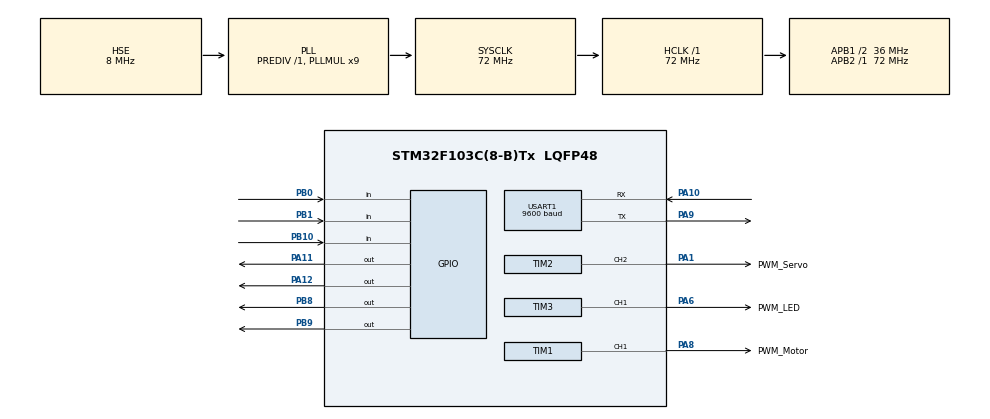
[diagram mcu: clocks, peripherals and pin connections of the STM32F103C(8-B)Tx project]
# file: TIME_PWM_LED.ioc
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FREERTOS.Queues01=motorQueue,16,uint16_t,0,Dynamic,NULL,NULL;servoQueue,16,uint16_t,0,Dynamic,NULL,NULL;ledQueue,16,uint16_t,0,Dynamic,NULL,NULL
FREERTOS.Tasks01=defaultTask,24,128,StartDefaultTask,Default,NULL,Dynamic,NULL,NULL;MotorTask,35,128,StartMotorTask,Default,NULL,Dynamic,NULL,NULL;ServoTask,18,128,StartServoTask,Default,NULL,Dynamic,NULL,NULL;LEDTask,17,128,StartLEDTask,Default,NULL,Dynamic,NULL,NULL;Key_TASK,40,128,StartKeyTask,Default,NULL,Dynamic,NULL,NULL;OLEDtask,8,128,StartOLEDTask,Default,NULL,Dynamic,NULL,NULL
FREERTOS.configMAX_CO_ROUTINE_PRIORITIES=7
FREERTOS.configTOTAL_HEAP_SIZE=10240
Mcu.Family=STM32F1
Mcu.Name=STM32F103C(8-B)Tx
Mcu.Package=LQFP48
NVIC.PriorityGroup=NVIC_PRIORITYGROUP_4
NVIC.TIM4_IRQn=true\:1\:0\:true\:false\:true\:false\:false\:true\:true
NVIC.TimeBase=TIM4_IRQn
NVIC.TimeBaseIP=TIM4
NVIC.USART1_IRQn=true\:5\:0\:false\:false\:true\:true\:true\:true\:true
PA1.GPIO_Label=PWM_Servo
PA1.Signal=S_TIM2_CH2
PA10.Mode=Asynchronous
PA10.Signal=USART1_RX
PA11.Signal=GPIO_Output
PA12.Signal=GPIO_Output
PA13.Mode=Serial_Wire
PA13.Signal=SYS_JTMS-SWDIO
PA14.Mode=Serial_Wire
PA14.Signal=SYS_JTCK-SWCLK
PA6.GPIO_Label=PWM_LED
PA6.Signal=S_TIM3_CH1
PA8.GPIO_Label=PWM_Motor
PA8.Signal=S_TIM1_CH1
PA9.Mode=Asynchronous
PA9.Signal=USART1_TX
PB0.GPIO_PuPd=GPIO_PULLUP
PB0.Signal=GPIO_Input
PB1.GPIO_PuPd=GPIO_PULLUP
PB1.Signal=GPIO_Input
PB10.GPIO_PuPd=GPIO_PULLUP
PB10.Signal=GPIO_Input
PB8.GPIO_ModeDefaultOutputPP=GPIO_MODE_OUTPUT_OD
PB8.GPIO_PuPd=GPIO_NOPULL
PB8.Signal=GPIO_Output
PB9.GPIO_ModeDefaultOutputPP=GPIO_MODE_OUTPUT_OD
PB9.GPIO_PuPd=GPIO_NOPULL
PB9.Signal=GPIO_Output
PD0-OSC_IN.Mode=HSE-External-Oscillator
PD0-OSC_IN.Signal=RCC_OSC_IN
PD1-OSC_OUT.Mode=HSE-External-Oscillator
PD1-OSC_OUT.Signal=RCC_OSC_OUT
ProjectManager.HeapSize=0x200
ProjectManager.StackSize=0x400
ProjectManager.TargetToolchain=MDK-ARM V5.32
RCC.AHBFreq_Value=72000000
RCC.APB1CLKDivider=RCC_HCLK_DIV2
RCC.APB1Freq_Value=36000000
RCC.APB1TimFreq_Value=72000000
RCC.APB2Freq_Value=72000000
RCC.APB2TimFreq_Value=72000000
RCC.HCLKFreq_Value=72000000
RCC.PLLMUL=RCC_PLL_MUL9
RCC.PLLSourceVirtual=RCC_PLLSOURCE_HSE
RCC.SYSCLKFreq_VALUE=72000000
RCC.SYSCLKSource=RCC_SYSCLKSOURCE_PLLCLK
RCC.USBFreq_Value=72000000
SH.S_TIM1_CH1.0=TIM1_CH1,PWM Generation1 CH1
SH.S_TIM2_CH2.0=TIM2_CH2,PWM Generation2 CH2
SH.S_TIM3_CH1.0=TIM3_CH1,PWM Generation1 CH1
TIM1.Channel-PWM\ Generation1\ CH1=TIM_CHANNEL_1
TIM1.Period=100-1
TIM1.Prescaler=36-1
TIM1.Pulse-PWM\ Generation1\ CH1=0
TIM2.Channel-PWM\ Generation2\ CH2=TIM_CHANNEL_2
TIM2.Period=20000-1
TIM2.Prescaler=72-1
TIM2.Pulse-PWM\ Generation2\ CH2=500
TIM3.Channel-PWM\ Generation1\ CH1=TIM_CHANNEL_1
TIM3.Period=100-1
TIM3.Prescaler=720-1
USART1.BaudRate=9600
USART1.VirtualMode=VM_ASYNC
VP_FREERTOS_VS_CMSIS_V2.Mode=CMSIS_V2
VP_SYS_VS_tim4.Mode=TIM4
VP_TIM1_VS_ClockSourceINT.Mode=Internal
VP_TIM2_VS_ClockSourceINT.Mode=Internal
VP_TIM3_VS_ClockSourceINT.Mode=Internal
board=custom

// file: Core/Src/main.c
/* USER CODE BEGIN Header */
/**
  ******************************************************************************
  * @file           : main.c
  * @brief          : Main program body
  ******************************************************************************
  * @attention
  *
  * Copyright (c) 2025 STMicroelectronics.
  * All rights reserved.
  *
  * This software is licensed under terms that can be found in the LICENSE file
  * in the root directory of this software component.
  * If no LICENSE file comes with this software, it is provided AS-IS.
  *
  ******************************************************************************
  */
/* USER CODE END Header */
#include "main.h"
#include "cmsis_os.h"
#include "tim.h"
#include "usart.h"
#include "gpio.h"

/* USER CODE BEGIN PV */
//定义消息队列
osMessageQueueId_t motorQueue;
osMessageQueueId_t servoQueue;
osMessageQueueId_t ledQueue;

/* USER CODE END PV */

void SystemClock_Config(void);
void MX_FREERTOS_Init(void);

int main(void)
{

  /* MCU Configuration--------------------------------------------------------*/

  /* Reset of all peripherals, Initializes the Flash interface and the Systick. */
  HAL_Init();

  /* Configure the system clock */
  SystemClock_Config();

  /* Initialize all configured peripherals */
  MX_GPIO_Init();
  MX_TIM2_Init();
  MX_TIM1_Init();
  MX_TIM3_Init();
  MX_USART1_UART_Init();
  /* USER CODE BEGIN 2 */
	HAL_TIM_PWM_Start(&htim1,TIM_CHANNEL_1);
	HAL_TIM_PWM_Start(&htim2,TIM_CHANNEL_2);
	HAL_TIM_PWM_Start(&htim3,TIM_CHANNEL_1);

  /* USER CODE END 2 */

  /* Init scheduler */
  osKernelInitialize();

  /* Call init function for freertos objects (in cmsis_os2.c) */
  MX_FREERTOS_Init();

  /* Start scheduler */
  osKernelStart();

  /* We should never get here as control is now taken by the scheduler */

  /* Infinite loop */
  while (1)
  {

	}
}

void SystemClock_Config(void)
{
  RCC_OscInitTypeDef RCC_OscInitStruct = {0};
  RCC_ClkInitTypeDef RCC_ClkInitStruct = {0};

  /** Initializes the RCC Oscillators according to the specified parameters
  * in the RCC_OscInitTypeDef structure.
  */
  RCC_OscInitStruct.OscillatorType = RCC_OSCILLATORTYPE_HSE;
  RCC_OscInitStruct.HSEState = RCC_HSE_ON;
  RCC_OscInitStruct.HSEPredivValue = RCC_HSE_PREDIV_DIV1;
  RCC_OscInitStruct.HSIState = RCC_HSI_ON;
  RCC_OscInitStruct.PLL.PLLState = RCC_PLL_ON;
  RCC_OscInitStruct.PLL.PLLSource = RCC_PLLSOURCE_HSE;
  RCC_OscInitStruct.PLL.PLLMUL = RCC_PLL_MUL9;
  if (HAL_RCC_OscConfig(&RCC_OscInitStruct) != HAL_OK)
  {
    Error_Handler();
  }

  /** Initializes the CPU, AHB and APB buses clocks
  */
  RCC_ClkInitStruct.ClockType = RCC_CLOCKTYPE_HCLK|RCC_CLOCKTYPE_SYSCLK
                              |RCC_CLOCKTYPE_PCLK1|RCC_CLOCKTYPE_PCLK2;
  RCC_ClkInitStruct.SYSCLKSource = RCC_SYSCLKSOURCE_PLLCLK;
  RCC_ClkInitStruct.AHBCLKDivider = RCC_SYSCLK_DIV1;
  RCC_ClkInitStruct.APB1CLKDivider = RCC_HCLK_DIV2;
  RCC_ClkInitStruct.APB2CLKDivider = RCC_HCLK_DIV1;

  if (HAL_RCC_ClockConfig(&RCC_ClkInitStruct, FLASH_LATENCY_2) != HAL_OK)
  {
    Error_Handler();
  }
}

void HAL_TIM_PeriodElapsedCallback(TIM_HandleTypeDef *htim)
{
  if (htim->Instance == TIM4)
  {
    HAL_IncTick();
  }
}

void Error_Handler(void)
{
  __disable_irq();
  while (1)
  {
  }
}

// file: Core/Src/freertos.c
/* USER CODE BEGIN Header */
/**
  ******************************************************************************
  * File Name          : freertos.c
  * Description        : Code for freertos applications
  ******************************************************************************
  * @attention
  *
  * Copyright (c) 2025 STMicroelectronics.
  * All rights reserved.
  *
  * This software is licensed under terms that can be found in the LICENSE file
  * in the root directory of this software component.
  * If no LICENSE file comes with this software, it is provided AS-IS.
  *
  ******************************************************************************
  */
/* USER CODE END Header */

#include "FreeRTOS.h"
#include "task.h"
#include "main.h"
#include "cmsis_os.h"

/* USER CODE BEGIN Includes */
#include "motor_task.h"
#include "servo_task.h"
#include "led_task.h"
#include "key_task.h"
#include "OLED_task.h"
#include "usart.h"
/* USER CODE END Includes */

/* USER CODE BEGIN Variables */
volatile uint8_t key1_flag = 0;
volatile uint8_t key2_flag = 0;
volatile uint8_t key3_flag = 0;
/* USER CODE END Variables */
/* Definitions for defaultTask */
osThreadId_t defaultTaskHandle;
const osThreadAttr_t defaultTask_attributes = {
  .name = "defaultTask",
  .stack_size = 128 * 4,
  .priority = (osPriority_t) osPriorityNormal,
};
/* Definitions for MotorTask */
osThreadId_t MotorTaskHandle;
const osThreadAttr_t MotorTask_attributes = {
  .name = "MotorTask",
  .stack_size = 128 * 4,
  .priority = (osPriority_t) osPriorityAboveNormal3,
};
/* Definitions for ServoTask */
osThreadId_t ServoTaskHandle;
const osThreadAttr_t ServoTask_attributes = {
  .name = "ServoTask",
  .stack_size = 128 * 4,
  .priority = (osPriority_t) osPriorityBelowNormal2,
};
/* Definitions for LEDTask */
osThreadId_t LEDTaskHandle;
const osThreadAttr_t LEDTask_attributes = {
  .name = "LEDTask",
  .stack_size = 128 * 4,
  .priority = (osPriority_t) osPriorityBelowNormal1,
};
/* Definitions for Key_TASK */
osThreadId_t Key_TASKHandle;
const osThreadAttr_t Key_TASK_attributes = {
  .name = "Key_TASK",
  .stack_size = 128 * 4,
  .priority = (osPriority_t) osPriorityHigh,
};
/* Definitions for OLEDtask */
osThreadId_t OLEDtaskHandle;
const osThreadAttr_t OLEDtask_attributes = {
  .name = "OLEDtask",
  .stack_size = 128 * 4,
  .priority = (osPriority_t) osPriorityLow,
};
/* Definitions for motorQueue */
osMessageQueueId_t motorQueueHandle;
const osMessageQueueAttr_t motorQueue_attributes = {
  .name = "motorQueue"
};
/* Definitions for servoQueue */
osMessageQueueId_t servoQueueHandle;
const osMessageQueueAttr_t servoQueue_attributes = {
  .name = "servoQueue"
};
/* Definitions for ledQueue */
osMessageQueueId_t ledQueueHandle;
const osMessageQueueAttr_t ledQueue_attributes = {
  .name = "ledQueue"
};

void StartDefaultTask(void *argument);
void StartMotorTask(void *argument);
void StartServoTask(void *argument);
void StartLEDTask(void *argument);
void StartKeyTask(void *argument);
void StartOLEDTask(void *argument);

void MX_FREERTOS_Init(void); /* (MISRA C 2004 rule 8.1) */

void MX_FREERTOS_Init(void) {

  /* Create the queue(s) */
  /* creation of motorQueue */
  motorQueueHandle = osMessageQueueNew (16, sizeof(uint16_t), &motorQueue_attributes);

  /* creation of servoQueue */
  servoQueueHandle = osMessageQueueNew (16, sizeof(uint16_t), &servoQueue_attributes);

  /* creation of ledQueue */
  ledQueueHandle = osMessageQueueNew (16, sizeof(uint16_t), &ledQueue_attributes);

  /* Create the thread(s) */
  /* creation of defaultTask */
  defaultTaskHandle = osThreadNew(StartDefaultTask, NULL, &defaultTask_attributes);

  /* creation of MotorTask */
  MotorTaskHandle = osThreadNew(StartMotorTask, NULL, &MotorTask_attributes);

  /* creation of ServoTask */
  ServoTaskHandle = osThreadNew(StartServoTask, NULL, &ServoTask_attributes);

  /* creation of LEDTask */
  LEDTaskHandle = osThreadNew(StartLEDTask, NULL, &LEDTask_attributes);

  /* creation of Key_TASK */
  Key_TASKHandle = osThreadNew(StartKeyTask, NULL, &Key_TASK_attributes);

  /* creation of OLEDtask */
  OLEDtaskHandle = osThreadNew(StartOLEDTask, NULL, &OLEDtask_attributes);

}

void StartDefaultTask(void *argument)
{
  for(;;)
  {
    osDelay(1);
  }
}

//void StartMotorTask(void *argument)
//{
//  /* USER CODE BEGIN StartMotorTask */
//  /* Infinite loop */
//  for(;;)
//  {
//    osDelay(1);
//  }
//  /* USER CODE END StartMotorTask */
//}

///* USER CODE BEGIN Header_StartServoTask */
///**
//* @brief Function implementing the ServoTask thread.
//* @param argument: Not used
//* @retval None
//*/
///* USER CODE END Header_StartServoTask */
//void StartServoTask(void *argument)
//{
//  /* USER CODE BEGIN StartServoTask */
//  /* Infinite loop */
//  for(;;)
//  {
//    osDelay(1);
//  }
//  /* USER CODE END StartServoTask */
//}

///* USER CODE BEGIN Header_StartLEDTask */
///**
//* @brief Function implementing the BreathingTask thread.
//* @param argument: Not used
//* @retval None
//*/
///* USER CODE END Header_StartLEDTask */
//void StartLEDTask(void *argument)
//{
//  /* USER CODE BEGIN StartLEDTask */
//  /* Infinite loop */
//  for(;;)
//  {
//    osDelay(1);
//  }
//  /* USER CODE END StartLEDTask */
//}

///* USER CODE BEGIN Header_StartKeyTask */
///**
//* @brief Function implementing the Key_TASK thread.
//* @param argument: Not used
//* @retval None
//*/
///* USER CODE END Header_StartKeyTask */
//void StartKeyTask(void *argument)
//{
//  /* USER CODE BEGIN StartKeyTask */
//   /* Infinite loop */
//   for(;;)
//   {
// 		printf("key_task1\r\n");
//     osDelay(1);
//   }
//  /* USER CODE END StartKeyTask */
//}

///* USER CODE BEGIN Header_StartOLEDTask */
///**
//* @brief Function implementing the OLEDtask thread.
//* @param argument: Not used
//* @retval None
//*/
///* USER CODE END Header_StartOLEDTask */
//void StartOLEDTask(void *argument)
//{
//  /* USER CODE BEGIN StartOLEDTask */
//  /* Infinite loop */
//  for(;;)
//  {
//    osDelay(1);
//  }
//  /* USER CODE END StartOLEDTask */
//}
